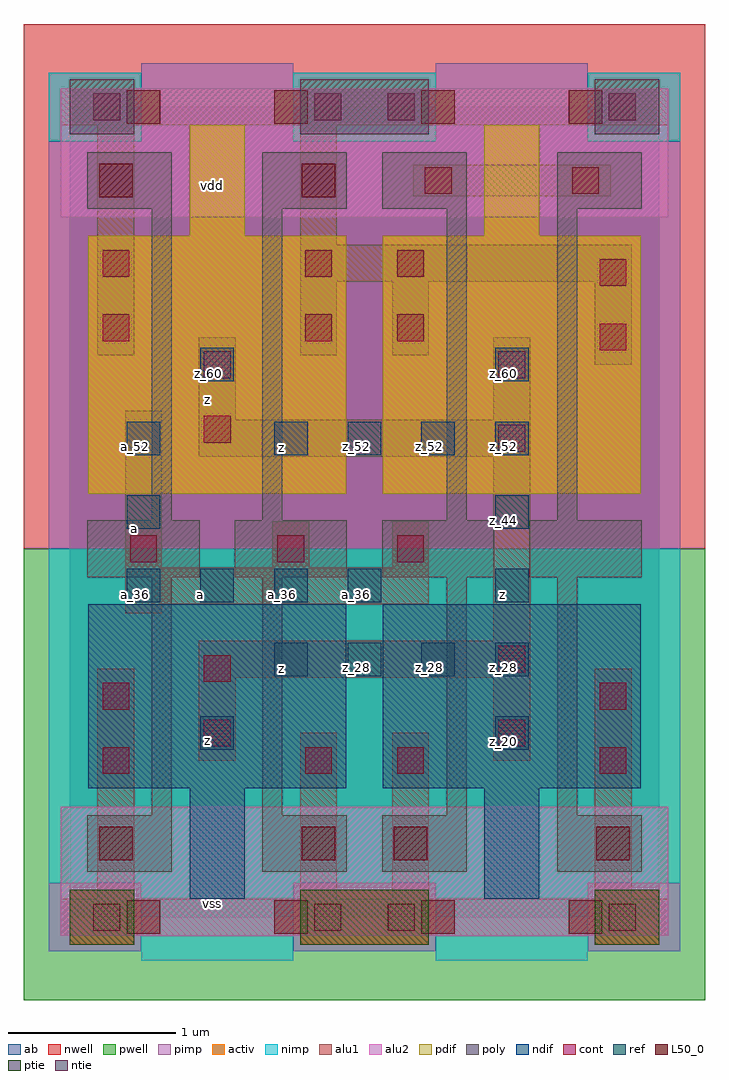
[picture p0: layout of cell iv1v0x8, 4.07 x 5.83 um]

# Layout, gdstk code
import gdstk
lib = gdstk.Library(unit=1e-6, precision=2.5e-09)
def R(c, l, rs):  # rectangles x0, y0, x1, y1
    for r in rs: c.add(gdstk.rectangle(r[:2], r[2:], *l))
def A(c, l, x, y, w, h, nx, ny, dx, dy):  # array of equal rectangles
    R(c, l, [(x+i*dx, y+j*dy, x+i*dx+w, y+j*dy+h) for i in range(nx) for j in range(ny)])
ndif = (3, 0)
pdif = (4, 0)
ntie = (5, 0)
ptie = (6, 0)
ref = (24, 0)
cont = (25, 0)
pwell = (41, 0)
nwell = (42, 0)
activ = (43, 0)
pimp = (44, 0)
nimp = (45, 0)
poly = (46, 0)
alu1 = (49, 0)
L50_0 = (50, 0)
alu2 = (51, 0)
ab = (63, 0)

iv1v0x8 = lib.new_cell('iv1v0x8')
R(iv1v0x8, ndif, [(0.715,0.11,1.045,0.77), (2.475,0.11,2.805,0.77), (0.11,0.77,1.65,1.87), (1.87,0.77,3.41,1.87)])
R(iv1v0x8, pdif, [(0.11,2.53,1.65,4.07), (1.87,2.53,3.41,4.07), (0.715,4.07,1.045,4.73), (2.475,4.07,2.805,4.73)])
R(iv1v0x8, ntie, [(0,4.675,0.385,5.005), (1.375,4.675,2.145,5.005), (3.135,4.675,3.52,5.005)])
R(iv1v0x8, ptie, [(0,-0.165,0.385,0.165), (1.375,-0.165,2.145,0.165), (3.135,-0.165,3.52,0.165)])
A(iv1v0x8, ref, 1.22, 1.44, 0.2, 0.2, 4, 2, 0.44, 1.32)
A(iv1v0x8, ref, 0.34, 1.88, 0.2, 0.2, 4, 1, 0.44, 0)
R(iv1v0x8, ref, [(0.78,1,0.98,1.2), (2.54,1,2.74,1.2), (2.54,1.88,2.74,2.08), (0.34,2.32,0.54,2.52), (2.54,2.32,2.74,2.52), (0.34,2.76,0.54,2.96), (0.78,3.2,0.98,3.4), (2.54,3.2,2.74,3.4)])
R(iv1v0x8, cont, [(0.14,-0.08,0.3,0.08), (1.46,-0.08,1.62,0.08), (1.9,-0.08,2.06,0.08), (3.22,-0.08,3.38,0.08), (0.195,0.855,0.355,1.015), (1.405,0.855,1.565,1.015), (1.955,0.855,2.115,1.015), (3.165,0.855,3.325,1.015), (0.8,1.02,0.96,1.18), (2.56,1.02,2.72,1.18), (0.195,1.24,0.355,1.4), (3.165,1.24,3.325,1.4), (0.8,1.405,0.96,1.565), (2.56,1.46,2.72,1.62), (0.36,2.12,0.52,2.28), (1.24,2.12,1.4,2.28), (1.955,2.12,2.115,2.28), (2.56,2.78,2.72,2.94), (0.8,2.835,0.96,2.995), (0.8,3.22,0.96,3.38), (2.56,3.22,2.72,3.38), (3.165,3.385,3.325,3.545), (0.195,3.44,0.355,3.6), (1.405,3.44,1.565,3.6), (1.955,3.44,2.115,3.6), (3.165,3.77,3.325,3.93), (0.195,3.825,0.355,3.985), (1.405,3.825,1.565,3.985), (1.955,3.825,2.115,3.985), (2.12,4.32,2.28,4.48), (3,4.32,3.16,4.48), (0.14,4.76,0.3,4.92), (1.46,4.76,1.62,4.92), (1.9,4.76,2.06,4.92), (3.22,4.76,3.38,4.92)])
R(iv1v0x8, pwell, [(-0.275,-0.495,3.795,2.2)])
R(iv1v0x8, nwell, [(-0.275,2.2,3.795,5.335)])
R(iv1v0x8, activ, [(0,-0.165,0.385,0.165), (1.375,-0.165,2.145,0.165), (3.135,-0.165,3.52,0.165), (0.715,0.11,1.045,0.77), (2.475,0.11,2.805,0.77), (0.11,0.77,1.65,1.87), (1.87,0.77,3.41,1.87), (0.11,2.53,1.65,4.07), (1.87,2.53,3.41,4.07), (0.715,4.07,1.045,4.73), (2.475,4.07,2.805,4.73), (0,4.675,0.385,5.005), (1.375,4.675,2.145,5.005), (3.135,4.675,3.52,5.005)])
R(iv1v0x8, pimp, [(-0.125,-0.205,0.425,0.205), (1.335,-0.205,2.185,0.205), (3.095,-0.205,3.645,0.205), (-0.125,2.2,3.645,4.635), (0.425,4.635,1.335,5.1), (2.185,4.635,3.095,5.1)])
R(iv1v0x8, nimp, [(0.425,-0.26,1.335,0.205), (2.185,-0.26,3.095,0.205), (-0.125,0.205,3.645,2.2), (-0.125,4.635,0.425,5.045), (1.335,4.635,2.185,5.045), (3.095,4.635,3.645,5.045)])
A(iv1v0x8, poly, 0.105, 2.03, 0.67, 0.34, 4, 1, 0.88, 0)
R(iv1v0x8, poly, [(0.105,0.27,0.61,0.61), (1.15,0.27,1.655,0.61), (1.865,0.27,2.37,0.61), (2.91,0.27,3.415,0.61), (0.49,0.61,0.61,2.03), (1.15,0.61,1.27,2.03), (2.25,0.61,2.37,2.03), (2.91,0.61,3.03,2.03), (0.49,2.37,0.61,4.23), (1.15,2.37,1.27,4.23), (2.25,2.37,2.37,4.23), (2.91,2.37,3.03,4.23), (0.105,4.23,0.61,4.57), (1.15,4.23,1.655,4.57), (1.865,4.23,2.37,4.57), (2.91,4.23,3.415,4.57)])
R(iv1v0x8, alu1, [(-0.055,-0.11,3.575,0.11), (0.165,0.11,0.385,1.485), (1.375,0.11,1.595,1.1), (1.925,0.11,2.145,1.1), (3.135,0.11,3.355,1.485), (0.77,0.935,0.99,1.43), (2.53,0.935,2.75,1.43), (0.77,1.43,2.75,1.65), (2.53,1.65,2.75,2.75), (0.33,1.815,0.55,1.87), (0.33,1.87,2.145,2.09), (0.33,2.09,0.55,3.025), (1.21,2.09,1.43,2.365), (1.925,2.09,2.145,2.365), (0.77,2.75,2.75,2.97), (0.77,2.97,0.99,3.465), (2.53,2.97,2.75,3.465), (3.135,3.3,3.355,3.795), (0.165,3.355,0.385,4.73), (1.375,3.355,1.595,3.795), (1.925,3.355,2.145,3.795), (1.375,3.795,3.355,4.015), (1.375,4.015,1.595,4.73), (2.05,4.305,3.23,4.495), (-0.055,4.73,3.575,4.95)])
A(iv1v0x8, L50_0, 0.34, -0.1, 0.2, 0.2, 4, 2, 0.88, 4.84)
R(iv1v0x8, L50_0, [(0.175,0.34,0.375,0.54), (1.385,0.34,1.585,0.54), (1.935,0.34,2.135,0.54), (3.145,0.34,3.345,0.54), (0.175,4.3,0.375,4.5), (1.385,4.3,1.585,4.5)])
R(iv1v0x8, alu2, [(-0.055,-0.11,3.575,0.66), (-0.055,4.18,3.575,4.95)])
R(iv1v0x8, ab, [(0,0,3.52,4.84)])
iv1v0x8.add(gdstk.Label('z', (0.825,1.0575), layer=49, texttype=0))
iv1v0x8.add(gdstk.Label('z', (1.265,1.485), layer=49, texttype=0))
iv1v0x8.add(gdstk.Label('z', (2.585,1.925), layer=49, texttype=0))
iv1v0x8.add(gdstk.Label('a', (0.7825,1.925), layer=49, texttype=0))
iv1v0x8.add(gdstk.Label('z', (1.265,2.805), layer=49, texttype=0))
iv1v0x8.add(gdstk.Label('z', (0.825,3.0925), layer=49, texttype=0))
iv1v0x8.add(gdstk.Label('a', (0.385,2.3225), layer=49, texttype=0))
iv1v0x8.add(gdstk.Label('vss', (0.8525,0.0825), layer=51, texttype=0))
iv1v0x8.add(gdstk.Label('vdd', (0.8525,4.3725), layer=51, texttype=0))
iv1v0x8.add(gdstk.Label('a_36', (0.39,1.93), layer=24, texttype=0))
iv1v0x8.add(gdstk.Label('a_44', (0.39,2.37), layer=24, texttype=0))
iv1v0x8.add(gdstk.Label('a_52', (0.39,2.81), layer=24, texttype=0))
iv1v0x8.add(gdstk.Label('z_20', (0.83,1.05), layer=24, texttype=0))
iv1v0x8.add(gdstk.Label('z_52', (1.27,2.81), layer=24, texttype=0))
iv1v0x8.add(gdstk.Label('z_28', (1.27,1.49), layer=24, texttype=0))
iv1v0x8.add(gdstk.Label('z_60', (0.83,3.25), layer=24, texttype=0))
iv1v0x8.add(gdstk.Label('z_60', (2.59,3.25), layer=24, texttype=0))
iv1v0x8.add(gdstk.Label('z_20', (2.59,1.05), layer=24, texttype=0))
iv1v0x8.add(gdstk.Label('z_52', (2.15,2.81), layer=24, texttype=0))
iv1v0x8.add(gdstk.Label('z_28', (2.15,1.49), layer=24, texttype=0))
iv1v0x8.add(gdstk.Label('z_28', (1.71,1.49), layer=24, texttype=0))
iv1v0x8.add(gdstk.Label('z_52', (1.71,2.81), layer=24, texttype=0))
iv1v0x8.add(gdstk.Label('z_52', (2.59,2.81), layer=24, texttype=0))
iv1v0x8.add(gdstk.Label('z_28', (2.59,1.49), layer=24, texttype=0))
iv1v0x8.add(gdstk.Label('a_36', (0.83,1.93), layer=24, texttype=0))
iv1v0x8.add(gdstk.Label('a_36', (1.27,1.93), layer=24, texttype=0))
iv1v0x8.add(gdstk.Label('a_36', (1.71,1.93), layer=24, texttype=0))
iv1v0x8.add(gdstk.Label('z_44', (2.59,2.37), layer=24, texttype=0))
iv1v0x8.add(gdstk.Label('z_36', (2.59,1.93), layer=24, texttype=0))

lib.write_gds('iv1v0x8.gds')
